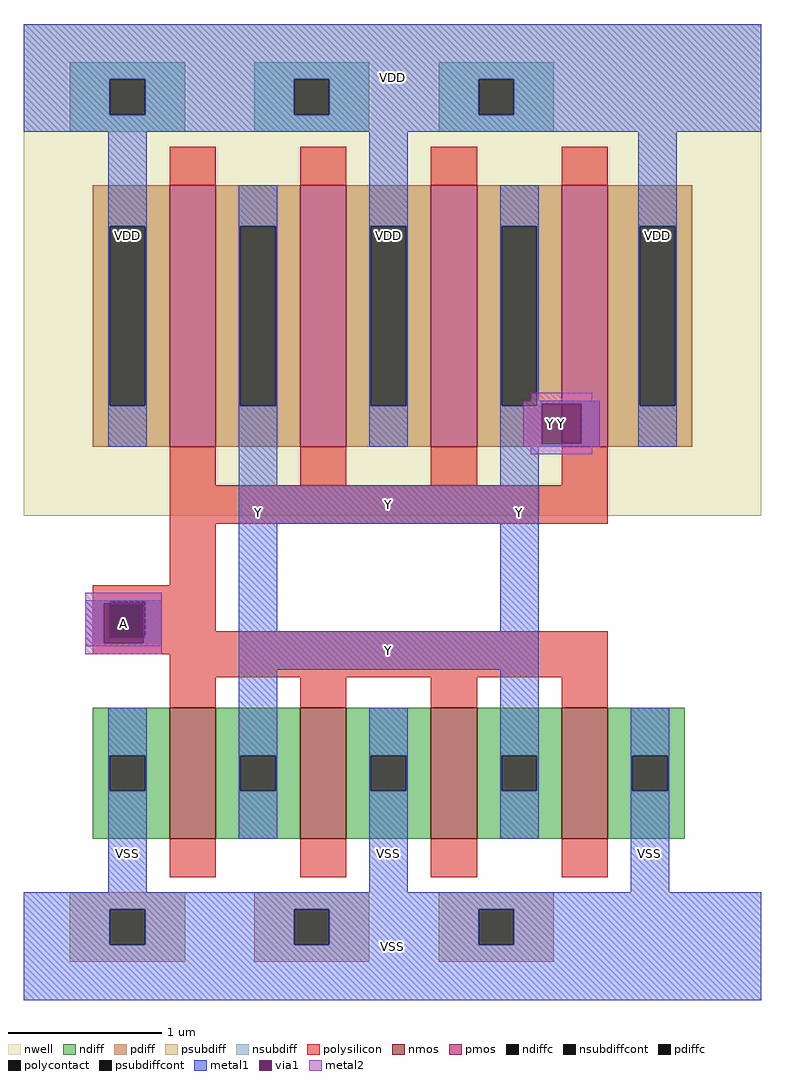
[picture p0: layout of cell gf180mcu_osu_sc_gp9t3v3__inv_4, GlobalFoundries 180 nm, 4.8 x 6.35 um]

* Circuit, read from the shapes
.subckt gf180mcu_osu_sc_gp9t3v3__inv_4 A Y VDD VSS
XM1 Y A VSS VSS nfet_03v3 w=0.85u l=0.3u m=4
XM2 Y A VDD VDD pfet_03v3 w=1.7u l=0.3u m=4
.ends

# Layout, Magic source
magic
tech gf180mcuA
magscale 1 10
<< nwell >>
rect 0 630 960 1270
<< nmos >>
rect 190 210 250 380
rect 360 210 420 380
rect 530 210 590 380
rect 700 210 760 380
<< pmos >>
rect 190 720 250 1060
rect 360 720 420 1060
rect 530 720 590 1060
rect 700 720 760 1060
<< ndiff >>
rect 90 318 190 380
rect 90 272 112 318
rect 158 272 190 318
rect 90 210 190 272
rect 250 318 360 380
rect 250 272 282 318
rect 328 272 360 318
rect 250 210 360 272
rect 420 318 530 380
rect 420 272 452 318
rect 498 272 530 318
rect 420 210 530 272
rect 590 318 700 380
rect 590 272 622 318
rect 668 272 700 318
rect 590 210 700 272
rect 760 318 860 380
rect 760 272 792 318
rect 838 272 860 318
rect 760 210 860 272
<< pdiff >>
rect 90 1007 190 1060
rect 90 773 112 1007
rect 158 773 190 1007
rect 90 720 190 773
rect 250 1007 360 1060
rect 250 773 282 1007
rect 328 773 360 1007
rect 250 720 360 773
rect 420 1007 530 1060
rect 420 773 452 1007
rect 498 773 530 1007
rect 420 720 530 773
rect 590 1007 700 1060
rect 590 773 622 1007
rect 668 773 700 1007
rect 590 720 700 773
rect 760 1007 870 1060
rect 760 773 802 1007
rect 848 773 870 1007
rect 760 720 870 773
<< ndiffc >>
rect 112 272 158 318
rect 282 272 328 318
rect 452 272 498 318
rect 622 272 668 318
rect 792 272 838 318
<< pdiffc >>
rect 112 773 158 1007
rect 282 773 328 1007
rect 452 773 498 1007
rect 622 773 668 1007
rect 802 773 848 1007
<< psubdiff >>
rect 60 118 210 140
rect 60 72 112 118
rect 158 72 210 118
rect 60 50 210 72
rect 300 118 450 140
rect 300 72 352 118
rect 398 72 450 118
rect 300 50 450 72
rect 540 118 690 140
rect 540 72 592 118
rect 638 72 690 118
rect 540 50 690 72
<< nsubdiff >>
rect 60 1198 210 1220
rect 60 1152 112 1198
rect 158 1152 210 1198
rect 60 1130 210 1152
rect 300 1198 450 1220
rect 300 1152 352 1198
rect 398 1152 450 1198
rect 300 1130 450 1152
rect 540 1198 690 1220
rect 540 1152 592 1198
rect 638 1152 690 1198
rect 540 1130 690 1152
<< psubdiffcont >>
rect 112 72 158 118
rect 352 72 398 118
rect 592 72 638 118
<< nsubdiffcont >>
rect 112 1152 158 1198
rect 352 1152 398 1198
rect 592 1152 638 1198
<< polysilicon >>
rect 190 1060 250 1110
rect 360 1060 420 1110
rect 530 1060 590 1110
rect 700 1060 760 1110
rect 190 670 250 720
rect 360 670 420 720
rect 530 670 590 720
rect 700 670 760 720
rect 190 620 760 670
rect 190 540 250 620
rect 90 518 250 540
rect 90 472 112 518
rect 158 480 250 518
rect 158 472 760 480
rect 90 450 760 472
rect 190 420 760 450
rect 190 380 250 420
rect 360 380 420 420
rect 530 380 590 420
rect 700 380 760 420
rect 190 160 250 210
rect 360 160 420 210
rect 530 160 590 210
rect 700 160 760 210
<< polycontact >>
rect 112 472 158 518
<< metal1 >>
rect 0 1198 960 1270
rect 0 1152 112 1198
rect 158 1152 352 1198
rect 398 1152 592 1198
rect 638 1152 960 1198
rect 0 1130 960 1152
rect 110 1007 160 1130
rect 110 773 112 1007
rect 158 773 160 1007
rect 110 720 160 773
rect 280 1007 330 1060
rect 280 773 282 1007
rect 328 773 330 1007
rect 280 670 330 773
rect 450 1007 500 1130
rect 450 773 452 1007
rect 498 773 500 1007
rect 450 720 500 773
rect 620 1007 670 1060
rect 620 773 622 1007
rect 668 780 670 1007
rect 800 1007 850 1130
rect 668 776 750 780
rect 668 773 674 776
rect 620 724 674 773
rect 726 724 750 776
rect 620 720 750 724
rect 800 773 802 1007
rect 848 773 850 1007
rect 800 720 850 773
rect 620 670 670 720
rect 280 620 670 670
rect 80 518 180 520
rect 80 516 112 518
rect 80 464 104 516
rect 158 472 180 518
rect 156 464 180 472
rect 80 460 180 464
rect 280 480 330 620
rect 620 480 670 620
rect 280 430 670 480
rect 110 318 160 380
rect 110 272 112 318
rect 158 272 160 318
rect 110 140 160 272
rect 280 318 330 430
rect 280 272 282 318
rect 328 272 330 318
rect 280 210 330 272
rect 450 318 500 380
rect 450 272 452 318
rect 498 272 500 318
rect 450 140 500 272
rect 620 318 670 430
rect 620 272 622 318
rect 668 272 670 318
rect 620 210 670 272
rect 790 318 840 380
rect 790 272 792 318
rect 838 272 840 318
rect 790 140 840 272
rect 0 118 960 140
rect 0 72 112 118
rect 158 72 352 118
rect 398 72 592 118
rect 638 72 960 118
rect 0 0 960 72
<< via1 >>
rect 674 724 726 776
rect 104 472 112 516
rect 112 472 156 516
rect 104 464 156 472
<< metal2 >>
rect 660 780 740 790
rect 650 776 750 780
rect 650 724 674 776
rect 726 724 750 776
rect 650 720 750 724
rect 660 710 740 720
rect 80 516 180 530
rect 80 464 104 516
rect 156 464 180 516
rect 80 450 180 464
<< labels >>
rlabel via1 s 104 464 156 516 4 A
port 1 nsew signal input
rlabel via1 s 674 724 726 776 4 Y
port 2 nsew signal output
rlabel metal1 s 110 720 160 1270 4 VDD
port 3 nsew power bidirectional abutment
rlabel metal1 s 110 0 160 380 4 VSS
port 4 nsew ground bidirectional abutment
rlabel metal1 s 450 720 500 1270 1 VDD
port 3 nsew power bidirectional abutment
rlabel metal1 s 800 720 850 1270 1 VDD
port 3 nsew power bidirectional abutment
rlabel metal1 s 0 1130 960 1270 1 VDD
port 3 nsew power bidirectional abutment
rlabel metal1 s 450 0 500 380 1 VSS
port 4 nsew ground bidirectional abutment
rlabel metal1 s 790 0 840 380 1 VSS
port 4 nsew ground bidirectional abutment
rlabel metal1 s 0 0 960 140 1 VSS
port 4 nsew ground bidirectional abutment
rlabel metal2 s 80 450 180 530 1 A
port 1 nsew signal input
rlabel metal1 s 80 460 180 520 1 A
port 1 nsew signal input
rlabel metal2 s 660 710 740 790 1 Y
port 2 nsew signal output
rlabel metal2 s 650 720 750 780 1 Y
port 2 nsew signal output
rlabel metal1 s 280 210 330 1060 1 Y
port 2 nsew signal output
rlabel metal1 s 280 430 670 480 1 Y
port 2 nsew signal output
rlabel metal1 s 280 620 670 670 1 Y
port 2 nsew signal output
rlabel metal1 s 620 210 670 1060 1 Y
port 2 nsew signal output
rlabel metal1 s 620 720 750 780 1 Y
port 2 nsew signal output
<< properties >>
string FIXED_BBOX 0 0 960 1270
string GDS_END 296486
string GDS_FILE $PDKPATH/libs.ref/gf180mcu_osu_sc_gp9t3v3/gds/gf180mcu_osu_sc_gp9t3v3.gds
string GDS_START 290822
string LEFclass CORE
string LEFsite gf180mcu_osu_sc_gp9t3v3
string LEFsymmetry X Y
<< end >>
